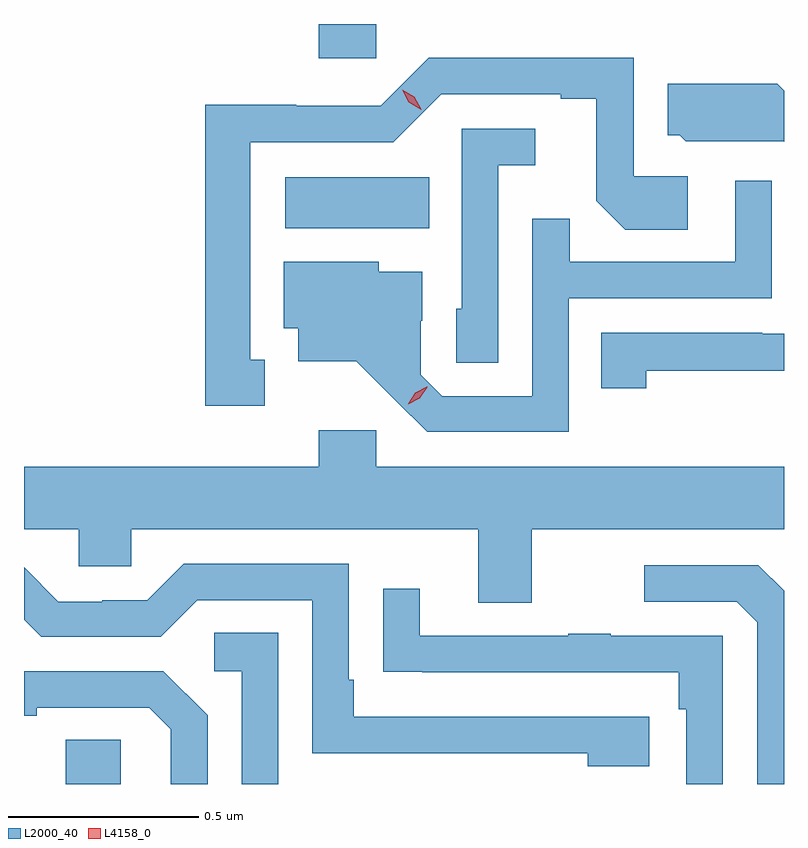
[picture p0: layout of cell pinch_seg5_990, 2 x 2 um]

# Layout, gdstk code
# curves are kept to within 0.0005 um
import gdstk
lib = gdstk.Library(unit=1e-6, precision=1e-09)
def R(c, l, rs):  # rectangles x0, y0, x1, y1
    for r in rs: c.add(gdstk.rectangle(r[:2], r[2:], *l))
def P(c, l, *ps):  # polygons
    for p in ps: c.add(gdstk.Polygon(p, *l))
L2000_40 = (2000, 40)
L4158_0 = (4158, 0)

pinch_seg5_990 = lib.new_cell('pinch_seg5_990')
R(pinch_seg5_990, L2000_40, [(754.181,876.069,754.326,876.185), (754.758,877.532,755.138,877.666), (754.847,877.979,754.998,878.069)])
P(pinch_seg5_990, L2000_40, [(754.705,877.185),(754.666,877.185),(754.666,877.758),(755.043,877.758),(755.169,877.884),(755.483,877.884),(755.483,877.872),(755.577,877.872),(755.577,877.604),(755.653,877.528),(755.818,877.528),(755.818,877.668),(755.676,877.668),(755.676,877.98),(755.136,877.98),(755.01,877.854),(754.788,877.854),(754.788,877.856),(754.548,877.856),(754.548,877.065),(754.705,877.065)],
  [(756.071,877.894),(756.053,877.912),(755.765,877.912),(755.765,877.776),(755.796,877.776),(755.812,877.76),(755.946,877.76),(755.946,877.761),(756.069,877.761),(756.071,877.759)],
  [(755.319,877.697),(755.416,877.697),(755.416,877.794),(755.223,877.794),(755.223,877.32),(755.208,877.32),(755.208,877.177),(755.319,877.177)],
  [(755.505,877.347),(756.039,877.347),(756.039,877.657),(755.943,877.657),(755.943,877.443),(755.507,877.443),(755.507,877.556),(755.409,877.556),(755.409,877.089),(755.172,877.089),(755.115,877.146),(755.115,877.288),(755.119,877.288),(755.119,877.417),(755.004,877.417),(755.004,877.444),(754.754,877.444),(754.754,877.268),(754.793,877.268),(754.793,877.181),(754.945,877.181),(755.132,876.996),(755.505,876.996)],
  [(755.709,877.156),(756.065,877.156),(756.065,877.157),(756.071,877.157),(756.071,877.254),(756.014,877.254),(756.014,877.257),(755.59,877.257),(755.59,877.11),(755.709,877.11)],
  [(755.407,876.74),(756.071,876.74),(756.071,876.904),(754.998,876.904),(754.998,877),(754.847,877),(754.847,876.904),(754.071,876.904),(754.071,876.74),(754.215,876.74),(754.215,876.642),(754.353,876.642),(754.353,876.74),(755.267,876.74),(755.267,876.546),(755.407,876.546)],
  [(755.716,876.246),(754.939,876.246),(754.939,876.343),(754.926,876.343),(754.926,876.648),(754.491,876.648),(754.395,876.552),(754.277,876.552),(754.277,876.549),(754.161,876.549),(754.071,876.639),(754.071,876.501),(754.116,876.456),(754.431,876.456),(754.527,876.552),(754.83,876.552),(754.83,876.15),(755.555,876.15),(755.555,876.116),(755.716,876.116)],
  [(756.071,876.577),(756.003,876.645),(755.703,876.645),(755.703,876.549),(755.946,876.549),(756,876.495),(756,876.069),(756.071,876.069)],
  [(755.91,876.459),(755.615,876.459),(755.615,876.464),(755.503,876.464),(755.503,876.459),(755.113,876.459),(755.113,876.583),(755.017,876.583),(755.017,876.364),(755.119,876.364),(755.119,876.363),(755.794,876.363),(755.794,876.266),(755.814,876.266),(755.814,876.069),(755.91,876.069)],
  [(754.74,876.467),(754.572,876.467),(754.572,876.366),(754.644,876.366),(754.644,876.069),(754.74,876.069)],
  [(754.554,876.25),(754.438,876.366),(754.071,876.366),(754.071,876.248),(754.105,876.248),(754.105,876.27),(754.4,876.27),(754.457,876.213),(754.457,876.069),(754.554,876.069)])
P(pinch_seg5_990, L4158_0, [(755.082,877.069),(755.082,877.07),(755.1,877.099),(755.131,877.114),(755.132,877.114),(755.132,877.113),(755.113,877.084),(755.082,877.069)],
  [(755.116,877.844),(755.084,877.863),(755.066,877.896),(755.066,877.896),(755.067,877.896),(755.098,877.877),(755.116,877.845),(755.116,877.844)])

lib.write_gds('pinch_seg5_990.gds')
